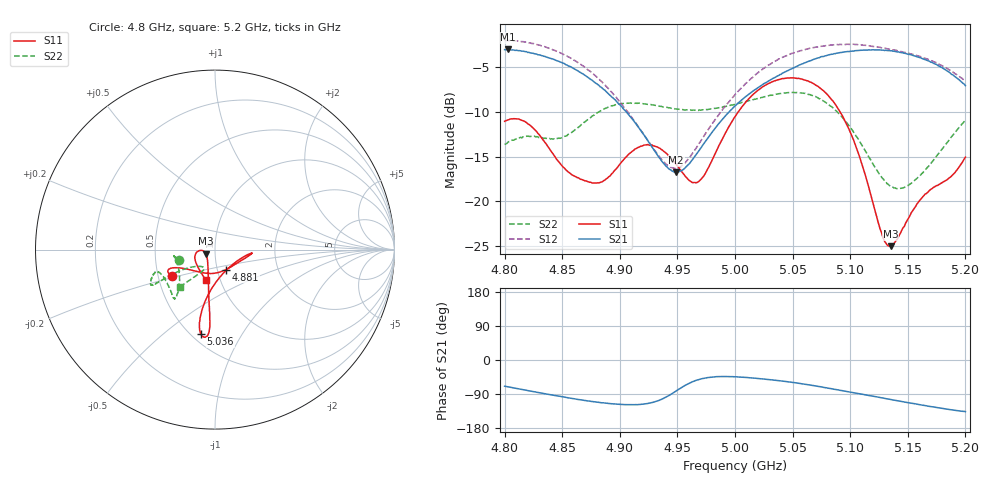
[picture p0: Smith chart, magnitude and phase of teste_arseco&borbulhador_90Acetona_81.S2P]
! Network Analyzer HP8722D
! Hewlett-Packard
! Data name: Linha & Wilkinson
! Saver's name: Rodrigo Anjos
! Comments: Teste da utilização de aquisição
! continua pelo VNA HP8722D
! Time and date: 17/4/2025 11:43
!  Frequency  S11  S21  S12  S22
# HZ  S  MA R 50
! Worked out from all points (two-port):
!   401 points, 4.8 GHz to 5.2 GHz, reference 50 ohm
!   highest |S21| = -2.97 dB at 4.803 GHz (marker M1); lowest = -16.7 dB at 4.949 GHz (marker M2)
!   |S21| within 3 dB of the highest: start of sweep to 4.871 GHz; 5.037 GHz to 5.19 GHz (153.9 MHz wide, 3.01 % of centre)
!   lowest |S11| = -25.0 dB at 5.135 GHz (marker M3), VSWR 1.12, Z = 45.1 - j1.99 ohm
!   |S11| at or under -10 dB: start of sweep to 5.003 GHz; 5.091 GHz to end of sweep
!   |S22| runs from -18.6 to -7.8 dB; largest |S21 - S12| = 1.5
!   S11 on the Smith chart (normalised r, x): 4.8 GHz: 0.59, -0.19; 4.881 GHz: 1.10, -0.25; 5.036 GHz: 0.56, -0.68; 5.2 GHz: 0.86, -0.30
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4.8e9  0.281 -148.1  0.7079 -69.1  0.7964 121.3  0.2085 -163.7
4.803e9  0.2859 -150.5  0.7102 -70.9  0.7952 119.9  0.2149 -165.1
4.817e9  0.2814 -156.7  0.692 -79.1  0.7811 113.7  0.2297 -171.1
4.833e9  0.2229 -152.9  0.6536 -87.9  0.7411 107.6  0.2264 -168.4
4.867e9  0.1325 -93.3  0.5213 -105.6  0.579 95.9  0.271 -136.8
4.881e9  0.127 -61.2  0.4507 -111.4  0.4916 91.7  0.3153 -131.0
4.915e9  0.1988 -8.2  0.2662 -117.9  0.2683 90.4  0.3539 -130.7
4.934e9  0.1992 -6.4  0.1763 -106.7  0.1796 105.1  0.3413 -135.5
4.949e9  0.1608 -15.6  0.1458 -81.4  0.1535 131.7  0.3294 -141.7
4.969e9  0.1299 -59.7  0.1933 -51.2  0.2118 162.6  0.3251 -151.4
5e9  0.2979 -101.1  0.3427 -44.3  0.3963 173.0  0.35 -159.1
5.036e9  0.4771 -99.4  0.5002 -53.8  0.616 166.0  0.3986 -153.8
5.067e9  0.4605 -94.2  0.6195 -66.9  0.7255 154.8  0.392 -150.3
5.083e9  0.3771 -94.4  0.6654 -75.5  0.7511 148.0  0.3415 -150.1
5.097e9  0.2694 -97.2  0.6895 -83.0  0.759 141.2  0.2758 -150.0
5.11e9  0.1629 -103.3  0.7026 -90.2  0.7526 134.9  0.2074 -147.7
5.128e9  0.06412 -133.4  0.703 -100.0  0.724 126.1  0.1347 -136.1
5.134e9  0.0561 -153.8  0.699 -103.6  0.7116 123.3  0.1227 -130.3
5.135e9  0.05608 -156.8  0.6974 -104.1  0.7108 123.1  0.1216 -129.4
5.156e9  0.0924 -175.0  0.653 -115.4  0.6606 114.2  0.1311 -119.5
5.179e9  0.1264 -149.7  0.5656 -127.5  0.5795 106.3  0.1934 -127.4
5.2e9  0.1768 -106.6  0.4449 -136.2  0.4699 102.0  0.2841 -133.2
